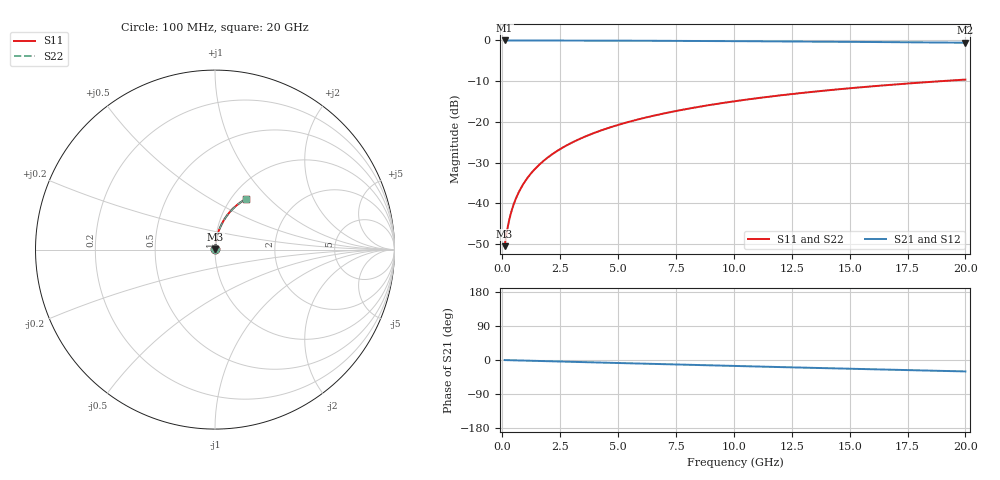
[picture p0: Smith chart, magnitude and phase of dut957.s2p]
! Touchstone file exported from HFSS 2026.1.0
!  File:  C:/ffzhzh/LocalFiles/Ansys_Project_Files/temp_train_TMRDL_957_1783158794_22436.aedt
!  Generated:  05:54:36 PM Jul  4, 2026
!  Design:  TMRDL
!  Project:  temp_train_TMRDL_957_1783158794_22436
! Variables:
!  h_bsmrdl = 2um
!  h_ox = 20um
!  h_rdl = 5um
!  h_sub = 80um
!  h_tmrdl = 3.11um
!  h_tsv = 80um
!  h_via = 3um
!  l_bsmrdl = 300um
!  l_sub = 773.88um
!  l_tmrdl = 373.88um
!  m_sub = 200um
!  pitch = 56.46um
!  r_tsv = 6um
!  s_tmrdl = 10um
!  w_bsmrdl = 18um
!  w_sub = 500um
!  w_tmrdl = 21.18um
!  x_tsv_center1 = 384.47um
!  x_tsv_center2 = 702.47um
!  x_tsv_center3 = 1097.53um
!  x_tsv_center4 = 1415.53um
!  x_tsv_center5 = 1810.59um
!  x_tsv_center6 = 2128.59um
# GHz S MA R 50.000000
! Terminal data exported
! Port[1] = TM_RDL1_1_T1
! Port[2] = TM_RDL1_1_T2
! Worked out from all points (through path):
!   200 points, 100 MHz to 20 GHz, reference 50 ohm
!   highest |S21| = -0.02 dB at 100 MHz (marker M1); lowest = -0.6 dB at 20 GHz (marker M2)
!   group delay of S21, straight-line fit = 4.2 ps
!   lowest |S11| = -50.5 dB at 100 MHz (marker M3), VSWR 1.01, Z = 50.2 + j0.199 ohm
!   |S11| at or under -10 dB: start of sweep to 18.96 GHz
!   |S22| runs from -50.5 to -9.6 dB; largest |S21 - S12| = 3.5e-15
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0.1  0.00299 41.4  0.9978 -0.2  0.9978 -0.2  0.00299 41.4
! Gamma 0 0 0 0
! Port Impedance 50 0 50 0
0.2  0.004562 59.2  0.9977 -0.3  0.9977 -0.3  0.004562 59.2
0.3  0.006316 67.2  0.9976 -0.5  0.9976 -0.5  0.006316 67.2
0.4  0.008108 71.5  0.9975 -0.7  0.9975 -0.7  0.008108 71.5
0.5  0.009907 74.3  0.9974 -0.8  0.9974 -0.8  0.009907 74.3
0.6  0.01171 76.2  0.9973 -1.0  0.9973 -1.0  0.01171 76.2
0.8  0.01533 78.6  0.9972 -1.3  0.9972 -1.3  0.01533 78.6
1.1  0.02079 80.6  0.997 -1.8  0.997 -1.8  0.02079 80.6
1.5  0.0281 81.8  0.9968 -2.4  0.9968 -2.4  0.0281 81.8
1.8  0.0336 82.2  0.9965 -2.9  0.9965 -2.9  0.0336 82.1
2.1  0.03911 82.3  0.9963 -3.4  0.9963 -3.4  0.03911 82.3
2.7  0.0501 82.1  0.9957 -4.3  0.9957 -4.3  0.0501 82.1
3.5  0.06471 81.5  0.9946 -5.6  0.9946 -5.6  0.06471 81.5
4.2  0.07742 80.7  0.9935 -6.7  0.9935 -6.7  0.07742 80.7
5  0.09184 79.7  0.9921 -7.9  0.9921 -7.9  0.09184 79.7
5.9  0.1079 78.5  0.9901 -9.4  0.9901 -9.4  0.1079 78.5
6.8  0.1238 77.2  0.988 -10.8  0.988 -10.8  0.1238 77.2
8.3  0.1498 75.1  0.9839 -13.1  0.9839 -13.1  0.1498 75.1
10.1  0.1803 72.5  0.9782 -15.8  0.9782 -15.8  0.1803 72.5
13.4  0.2338 67.7  0.9659 -20.7  0.9659 -20.7  0.2338 67.7
16.7  0.284 63.1  0.9518 -25.5  0.9518 -25.5  0.284 63.0
20  0.3305 58.5  0.9362 -30.2  0.9362 -30.2  0.3305 58.5
